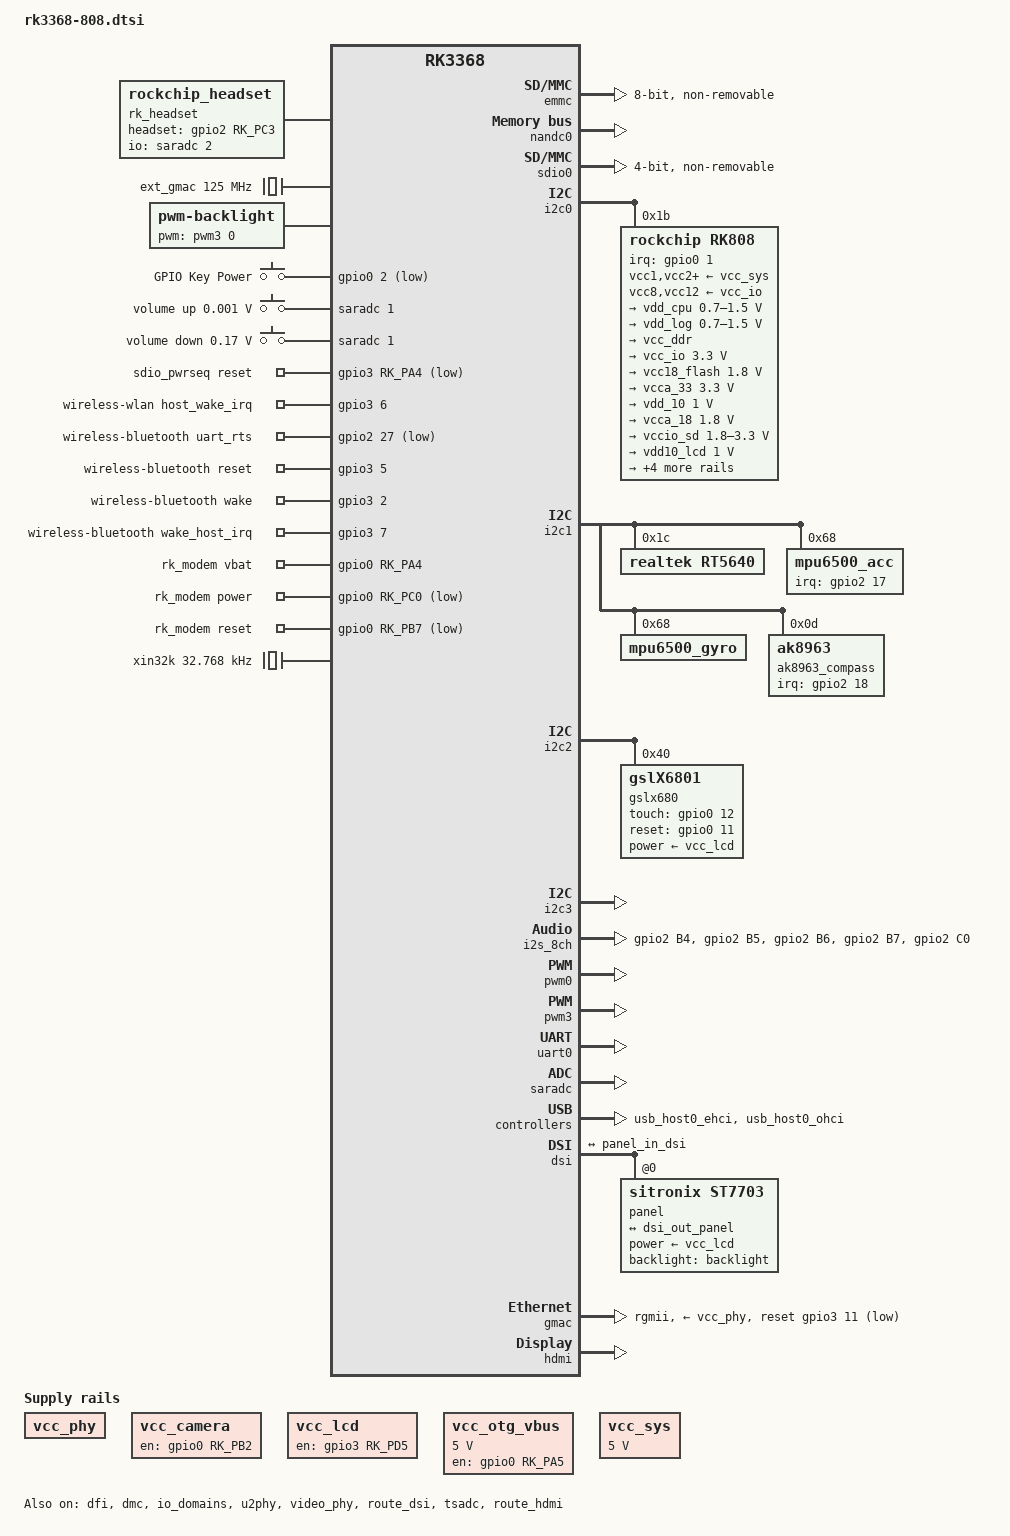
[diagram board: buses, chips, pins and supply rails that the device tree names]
// SPDX-License-Identifier: (GPL-2.0+ OR MIT)
/*
 * Copyright (c) 2019 Fuzhou Rockchip Electronics Co., Ltd
 */

/dts-v1/;
#include <dt-bindings/input/input.h>
#include <dt-bindings/pwm/pwm.h>
#include <dt-bindings/sensor-dev.h>
#include "rk3368.dtsi"
#include "rk3368-android.dtsi"

/ {
	rt5640-sound {
		compatible = "simple-audio-card";
		simple-audio-card,format = "i2s";
		simple-audio-card,name = "rockchip,rt5640-codec";
		simple-audio-card,mclk-fs = <256>;
		simple-audio-card,widgets =
			"Microphone", "Mic Jack",
			"Headphone", "Headphone Jack";
		simple-audio-card,routing =
			"Mic Jack", "MICBIAS1",
			"IN1P", "Mic Jack",
			"Headphone Jack", "HPOL",
			"Headphone Jack", "HPOR";
		simple-audio-card,dai-link@0 {
			format = "i2s";
			cpu {
				sound-dai = <&i2s_8ch>;
			};
			codec {
				sound-dai = <&rt5640>;
			};
		};

		simple-audio-card,dai-link@1 {
			format = "i2s";
			cpu {
				sound-dai = <&i2s_8ch>;
			};
			codec {
				sound-dai = <&hdmi>;
			};
		};
	};

	rk_headset {
		compatible = "rockchip_headset";
		headset_gpio = <&gpio2 RK_PC3 GPIO_ACTIVE_HIGH>;
		pinctrl-names = "default";
		pinctrl-0 = <&hp_det>;
		io-channels = <&saradc 2>;
	};

	ext_gmac: gmac-clk {
		compatible = "fixed-clock";
		clock-frequency = <125000000>;
		clock-output-names = "ext_gmac";
		#clock-cells = <0>;
	};

	vcc_phy: vcc-phy-regulator {
		compatible = "regulator-fixed";
		regulator-name = "vcc_phy";
		regulator-always-on;
		regulator-boot-on;
	};

	vcc_camera: vcc-camera-regulator {
		compatible = "regulator-fixed";
		gpio = <&gpio0 RK_PB2 GPIO_ACTIVE_HIGH>;
		pinctrl-names = "default";
		pinctrl-0 = <&camera_pwr>;
		regulator-name = "vcc_camera";
		enable-active-high;
		regulator-always-on;
		regulator-boot-on;
	};

	vcc_lcd: vcc-lcd-regulator {
		compatible = "regulator-fixed";
		gpio = <&gpio3 RK_PD5 GPIO_ACTIVE_HIGH>;
		pinctrl-names = "default";
		pinctrl-0 = <&lcd_pwr>;
		regulator-name = "vcc_lcd";
		enable-active-high;
		regulator-boot-on;
		regulator-state-mem {
			regulator-off-in-suspend;
		};
	};

	vcc_otg_vbus: otg-vbus-regulator {
		compatible = "regulator-fixed";
		gpio = <&gpio0 RK_PA5 GPIO_ACTIVE_HIGH>;
		pinctrl-names = "default";
		pinctrl-0 = <&otg_vbus_drv>;
		regulator-name = "vcc_otg_vbus";
		regulator-min-microvolt = <5000000>;
		regulator-max-microvolt = <5000000>;
		enable-active-high;
	};

	backlight: backlight {
		compatible = "pwm-backlight";
		pwms = <&pwm3 0 25000 0>;
		brightness-levels = <
			  0   1   2   3   4   5   6   7
			  8   9  10  11  12  13  14  15
			 16  17  18  19  20  21  22  23
			 24  25  26  27  28  29  30  31
			 32  33  34  35  36  37  38  39
			 40  41  42  43  44  45  46  47
			 48  49  50  51  52  53  54  55
			 56  57  58  59  60  61  62  63
			 64  65  66  67  68  69  70  71
			 72  73  74  75  76  77  78  79
			 80  81  82  83  84  85  86  87
			 88  89  90  91  92  93  94  95
			 96  97  98  99 100 101 102 103
			104 105 106 107 108 109 110 111
			112 113 114 115 116 117 118 119
			120 121 122 123 124 125 126 127
			128 129 130 131 132 133 134 135
			136 137 138 139 140 141 142 143
			144 145 146 147 148 149 150 151
			152 153 154 155 156 157 158 159
			160 161 162 163 164 165 166 167
			168 169 170 171 172 173 174 175
			176 177 178 179 180 181 182 183
			184 185 186 187 188 189 190 191
			192 193 194 195 196 197 198 199
			200 201 202 203 204 205 206 207
			208 209 210 211 212 213 214 215
			216 217 218 219 220 221 222 223
			224 225 226 227 228 229 230 231
			232 233 234 235 236 237 238 239
			240 241 242 243 244 245 246 247
			248 249 250 251 252 253 254 255>;
		default-brightness-level = <200>;
	};

	panel {
		compatible = "samsung,lsl070nl01", "simple-panel";
		backlight = <&backlight>;
		enable-gpios = <&gpio3 RK_PD5 GPIO_ACTIVE_HIGH>;
		enable-delay-ms = <120>;
		prepare-delay-ms = <2>;
		unprepare-delay-ms = <20>;
		disable-delay-ms = <50>;
		width-mm = <68>;
		height-mm = <121>;
		rockchip,data-mapping = "vesa";
		rockchip,data-width = <24>;
		rockchip,output = "lvds";
		status = "disabled";

		display-timings {
			native-mode = <&timing0>;

			timing0: timing0 {
				clock-frequency = <160000000>;
				hactive = <1200>;
				vactive = <1920>;
				hback-porch = <60>;
				hfront-porch = <80>;
				vback-porch = <25>;
				vfront-porch = <35>;
				hsync-len = <1>;
				vsync-len = <1>;
				hsync-active = <0>;
				vsync-active = <0>;
				de-active = <0>;
				pixelclk-active = <0>;
			};
		};

		port {
			panel_in: endpoint {
				remote-endpoint = <&edp_out>;
			};
		};
	};

	charge-animation {
		compatible = "rockchip,uboot-charge";
		rockchip,uboot-charge-on = <1>;
		rockchip,android-charge-on = <0>;
		rockchip,uboot-low-power-voltage = <3500>;
		rockchip,screen-on-voltage = <3600>;
		status = "okay";
	};

	gpio_keys: gpio-keys {
		compatible = "gpio-keys";
		autorepeat;

		power {
			debounce-interval = <100>;
			gpios = <&gpio0 2 GPIO_ACTIVE_LOW>;
			label = "GPIO Key Power";
			linux,code = <KEY_POWER>;
			wakeup-source;
		};
	};

	adc_keys: adc-keys {
		compatible = "adc-keys";
		io-channels = <&saradc 1>;
		io-channel-names = "buttons";
		keyup-threshold-microvolt = <1024000>;
		poll-interval = <100>;

		vol-up-key {
			label = "volume up";
			linux,code = <KEY_VOLUMEUP>;
			press-threshold-microvolt = <1000>;
		};

		vol-down-key {
			label = "volume down";
			linux,code = <KEY_VOLUMEDOWN>;
			press-threshold-microvolt = <170000>;
		};
	};

	sdio_pwrseq: sdio-pwrseq {
		compatible = "mmc-pwrseq-simple";
		clocks = <&rk808 1>;
		clock-names = "ext_clock";
		pinctrl-names = "default";
		pinctrl-0 = <&wifi_enable_h>;
		/*
		 * On the module itself this is one of these (depending
		 * on the actual card populated):
		 * - SDIO_RESET_L_WL_REG_ON
		 * - PDN (power down when low)
		 */
		reset-gpios = <&gpio3 RK_PA4 GPIO_ACTIVE_LOW>; /* GPIO3_A4 */
	};

	wireless-wlan {
		compatible = "wlan-platdata";
		rockchip,grf = <&grf>;
		wifi_chip_type = "ap6255";
		sdio_vref = <1800>; //1800mv or 3300mv
		WIFI,host_wake_irq = <&gpio3 6 GPIO_ACTIVE_HIGH>;
		status = "okay";
	};

	wireless-bluetooth {
		compatible = "bluetooth-platdata";
		clocks = <&rk808 1>;
		clock-names = "ext_clock";
		uart_rts_gpios = <&gpio2 27 GPIO_ACTIVE_LOW>;
		pinctrl-names = "default","rts_gpio";
		pinctrl-0 = <&uart0_rts>;
		pinctrl-1 = <&uart0_rts_gpio>;

		/* BT,power_gpio = <&gpio3 3 GPIO_ACTIVE_HIGH>; */
		BT,reset_gpio = <&gpio3 5 GPIO_ACTIVE_HIGH>;
		BT,wake_gpio = <&gpio3 2 GPIO_ACTIVE_HIGH>;
		BT,wake_host_irq = <&gpio3 7 GPIO_ACTIVE_HIGH>;

		status = "okay";
	};

	rk_modem: rk-modem {
		compatible="4g-modem-platdata";
		pinctrl-names = "default";
		pinctrl-0 = <&lte_vbat &lte_power_en &lte_reset>;
		4G,vbat-gpio = <&gpio0 RK_PA4 GPIO_ACTIVE_HIGH>;
		4G,power-gpio = <&gpio0 RK_PC0 GPIO_ACTIVE_LOW>;
		4G,reset-gpio = <&gpio0 RK_PB7 GPIO_ACTIVE_LOW>;
		status = "okay";
	};

	vcc_sys: vcc-sys {
		compatible = "regulator-fixed";
		regulator-name = "vcc_sys";
		regulator-always-on;
		regulator-boot-on;
		regulator-min-microvolt = <5000000>;
		regulator-max-microvolt = <5000000>;
	};

	xin32k: xin32k {
		compatible = "fixed-clock";
		clock-frequency = <32768>;
		clock-output-names = "xin32k";
		#clock-cells = <0>;
	};
};

&cpu_l0 {
	cpu-supply = <&vdd_cpu>;
};

&cpu_l1 {
	cpu-supply = <&vdd_cpu>;
};

&cpu_l2 {
	cpu-supply = <&vdd_cpu>;
};

&cpu_l3 {
	cpu-supply = <&vdd_cpu>;
};

&cpu_b0 {
	cpu-supply = <&vdd_cpu>;
};

&cpu_b1 {
	cpu-supply = <&vdd_cpu>;
};

&cpu_b2 {
	cpu-supply = <&vdd_cpu>;
};

&cpu_b3 {
	cpu-supply = <&vdd_cpu>;
};

&gpu {
	logic-supply = <&vdd_log>;
};

&dfi {
	status = "okay";
};

&dmc {
	status = "okay";
	center-supply = <&vdd_log>;
	devfreq-events = <&dfi>;
	upthreshold = <60>;
	downdifferential = <20>;
	system-status-freq = <
		/*system status		freq(KHz)*/
		SYS_STATUS_NORMAL	600000
		SYS_STATUS_REBOOT	600000
		SYS_STATUS_SUSPEND	240000
		SYS_STATUS_VIDEO_1080P	396000
		SYS_STATUS_VIDEO_4K	600000
		SYS_STATUS_PERFORMANCE	600000
		SYS_STATUS_BOOST	396000
		SYS_STATUS_DUALVIEW	600000
		SYS_STATUS_ISP		528000
	>;
	vop-bw-dmc-freq = <
	/* min_bw(MB/s) max_bw(MB/s) freq(KHz) */
		0       582      240000
		583     99999    396000
	>;
	auto-min-freq = <240000>;
	auto-freq-en = <0>;
};

&rockchip_suspend {
	status = "okay";
	rockchip,sleep-mode-config = <
		(0
		| RKPM_SLP_ARMOFF
		| RKPM_SLP_PMU_PLLS_PWRDN
		| RKPM_SLP_PMU_PMUALIVE_32K
		| RKPM_SLP_SFT_PLLS_DEEP
		| RKPM_SLP_PMU_DIS_OSC
		| RKPM_SLP_SFT_PD_NBSCUS
		)
	>;
	rockchip,wakeup-config = <
		(0
		| RKPM_GPIO_WKUP_EN
		| RKPM_USB_WKUP_EN
		| RKPM_CLUSTER_L_WKUP_EN
		)
	>;
};

&emmc {
	bus-width = <8>;
	cap-mmc-highspeed;
	mmc-hs200-1_8v;
	no-sdio;
	no-sd;
	disable-wp;
	non-removable;
	num-slots = <1>;
	status = "okay";
};

&nandc0 {
	status = "okay";
};

&sdmmc {
	clock-frequency = <37500000>;
	clock-freq-min-max = <400000 37500000>;
	no-sdio;
	no-mmc;
	cap-mmc-highspeed;
	cap-sd-highspeed;
	card-detect-delay = <200>;
	disable-wp;
	num-slots = <1>;
	pinctrl-names = "default";
	pinctrl-0 = <&sdmmc_clk &sdmmc_cmd &sdmmc_cd &sdmmc_bus4>;
	status = "disabled";
};

&sdio0 {
	clock-frequency = <100000000>;
	clock-freq-min-max = <200000 100000000>;
	no-sd;
	no-mmc;
	bus-width = <4>;
	disable-wp;
	cap-sd-highspeed;
	cap-sdio-irq;
	keep-power-in-suspend;
	mmc-pwrseq = <&sdio_pwrseq>;
	non-removable;
	num-slots = <1>;
	pinctrl-names = "default";
	pinctrl-0 = <&sdio0_bus4 &sdio0_cmd &sdio0_clk>;
	sd-uhs-sdr104;
	status = "okay";
};

&i2c0 {
	status = "okay";

	rk808: pmic@1b {
		status = "okay";
		compatible = "rockchip,rk808";
		reg = <0x1b>;
		interrupt-parent = <&gpio0>;
		interrupts = <1 IRQ_TYPE_LEVEL_LOW>;
		pinctrl-names = "default";
		pinctrl-0 = <&pmic_int>, <&pmic_sleep>;
		rockchip,system-power-controller;
		wakeup-source;
		vcc1-supply = <&vcc_sys>;
		vcc2-supply = <&vcc_sys>;
		vcc3-supply = <&vcc_sys>;
		vcc4-supply = <&vcc_sys>;
		vcc6-supply = <&vcc_sys>;
		vcc7-supply = <&vcc_sys>;
		vcc8-supply = <&vcc_io>;
		vcc9-supply = <&vcc_sys>;
		vcc10-supply = <&vcc_sys>;
		vcc11-supply = <&vcc_sys>;
		vcc12-supply = <&vcc_io>;
		clock-output-names = "rk808-clkout1", "rk808-clkout2";
		#clock-cells = <1>;

		regulators {
			vdd_cpu: DCDC_REG1 {
				regulator-always-on;
				regulator-boot-on;
				regulator-min-microvolt = <700000>;
				regulator-max-microvolt = <1500000>;
				regulator-name = "vdd_cpu";
				regulator-state-mem {
					regulator-off-in-suspend;
				};
			};

			vdd_log: DCDC_REG2 {
				regulator-always-on;
				regulator-boot-on;
				regulator-min-microvolt = <700000>;
				regulator-max-microvolt = <1500000>;
				regulator-name = "vdd_log";
				regulator-state-mem {
					regulator-on-in-suspend;
					regulator-suspend-microvolt = <1000000>;
				};
			};

			vcc_ddr: DCDC_REG3 {
				regulator-always-on;
				regulator-boot-on;
				regulator-name = "vcc_ddr";
				regulator-state-mem {
					regulator-on-in-suspend;
				};
			};

			vcc_io: DCDC_REG4 {
				regulator-always-on;
				regulator-boot-on;
				regulator-min-microvolt = <3300000>;
				regulator-max-microvolt = <3300000>;
				regulator-name = "vcc_io";
				regulator-state-mem {
					regulator-on-in-suspend;
					regulator-suspend-microvolt = <3300000>;
				};
			};

			vcc18_flash: LDO_REG1 {
				regulator-always-on;
				regulator-boot-on;
				regulator-min-microvolt = <1800000>;
				regulator-max-microvolt = <1800000>;
				regulator-name = "vcc18_flash";
				regulator-state-mem {
					regulator-on-in-suspend;
					regulator-suspend-microvolt = <1800000>;
				};
			};

			vcca_33: LDO_REG2 {
				regulator-always-on;
				regulator-boot-on;
				regulator-min-microvolt = <3300000>;
				regulator-max-microvolt = <3300000>;
				regulator-name = "vcca_33";
				regulator-state-mem {
					regulator-off-in-suspend;
				};
			};

			vdd_10: LDO_REG3 {
				regulator-always-on;
				regulator-boot-on;
				regulator-min-microvolt = <1000000>;
				regulator-max-microvolt = <1000000>;
				regulator-name = "vdd_10";
				regulator-state-mem {
					regulator-on-in-suspend;
					regulator-suspend-microvolt = <1000000>;
				};
			};

			vcca_18: LDO_REG4 {
				regulator-always-on;
				regulator-boot-on;
				regulator-min-microvolt = <1800000>;
				regulator-max-microvolt = <1800000>;
				regulator-name = "vcca_18";
				regulator-state-mem {
					regulator-off-in-suspend;
					regulator-suspend-microvolt = <1800000>;
				};
			};

			vccio_sd: LDO_REG5 {
				regulator-always-on;
				regulator-boot-on;
				regulator-min-microvolt = <1800000>;
				regulator-max-microvolt = <3300000>;
				regulator-name = "vccio_sd";
				regulator-state-mem {
					regulator-on-in-suspend;
					regulator-suspend-microvolt = <3300000>;
				};
			};

			vdd10_lcd: LDO_REG6 {
				regulator-always-on;
				regulator-boot-on;
				regulator-min-microvolt = <1000000>;
				regulator-max-microvolt = <1000000>;
				regulator-name = "vdd10_lcd";
				regulator-state-mem {
					regulator-off-in-suspend;
					regulator-suspend-microvolt = <1000000>;
				};
			};

			vcc_18: LDO_REG7 {
				regulator-always-on;
				regulator-boot-on;
				regulator-min-microvolt = <1800000>;
				regulator-max-microvolt = <1800000>;
				regulator-name = "vcc_18";
				regulator-state-mem {
					regulator-on-in-suspend;
					regulator-suspend-microvolt = <1800000>;
				};
			};

			vcc18_lcd: LDO_REG8 {
				regulator-always-on;
				regulator-boot-on;
				regulator-min-microvolt = <1800000>;
				regulator-max-microvolt = <1800000>;
				regulator-name = "vcc18_lcd";
				regulator-state-mem {
					regulator-off-in-suspend;
					regulator-suspend-microvolt = <1800000>;
				};
			};

			vcc_sd: SWITCH_REG1 {
				regulator-always-on;
				regulator-boot-on;
				regulator-name = "vcc_sd";
				regulator-state-mem {
					regulator-on-in-suspend;
				};
			};

			vcc_lan: SWITCH_REG2 {
				regulator-always-on;
				regulator-boot-on;
				regulator-name = "vcc_lan";
				regulator-state-mem {
					regulator-off-in-suspend;
				};
			};
		};
	};

};

&i2c1 {
	status = "okay";

	rt5640: rt5640@1c {
		status = "okay";
		#sound-dai-cells = <0>;
		compatible = "realtek,rt5640";
		reg = <0x1c>;
		clocks = <&cru SCLK_I2S_8CH_OUT>;
		clock-names = "mclk";
		realtek,in1-differential;
		/* spk-con-gpio = <&gpio3 9 GPIO_ACTIVE_HIGH>; */
		pinctrl-names = "default";
		pinctrl-0 = <&i2s_8ch_mclk>;
	};

	mpu6500_acc: mpu_acc@68 {
		status = "okay";
		compatible = "mpu6500_acc";
		pinctrl-names = "default";
		pinctrl-0 = <&mpu6500_irq_gpio>;
		reg = <0x68>;
		irq-gpio = <&gpio2 17 IRQ_TYPE_LEVEL_LOW>;
		irq_enable = <0>;
		poll_delay_ms = <30>;
		type = <SENSOR_TYPE_ACCEL>;
		power-off-in-suspend = <1>;
		layout = <5>;

	};

	mpu6500_gyro: mpu_gyro@68 {
		status = "okay";
		compatible = "mpu6500_gyro";
		reg = <0x68>;
		irq_enable = <0>;
		poll_delay_ms = <30>;
		type = <SENSOR_TYPE_GYROSCOPE>;
		power-off-in-suspend = <1>;
		layout = <5>;
	};

	ak8963_compass: ak8963_compass@d {
		status = "okay";
		compatible = "ak8963";
		pinctrl-names = "default";
		pinctrl-0 = <&ak8963_irq_gpio>;
		reg = <0x0d>;
		type = <SENSOR_TYPE_COMPASS>;
		irq-gpio = <&gpio2 18 IRQ_TYPE_EDGE_RISING>;
		irq_enable = <0>;
		poll_delay_ms = <30>;
		layout = <7>;
	};
};

&i2c2 {
	status = "okay";

	gslx680@40 {
		compatible = "gslX6801";
		reg = <0x40>;
		screen_max_x = <1920>;
		screen_max_y = <1200>;
		power-supply = <&vcc_lcd>;
		touch-gpio = <&gpio0 12 IRQ_TYPE_LEVEL_LOW>;
		reset-gpio = <&gpio0 11 GPIO_ACTIVE_HIGH>;
		status = "okay";
	};

};

&i2c3 {
	status = "okay";
};

&i2s_8ch {
	status = "okay";
	rockchip,i2s-broken-burst-len;
	rockchip,playback-channels = <8>;
	rockchip,capture-channels = <2>;
	#sound-dai-cells = <0>;
	pinctrl-names = "default";
	pinctrl-0 = <&i2s_2ch_bus>;
};

&io_domains {
	status = "okay";

	audio-supply = <&vcca_18>;
	dvp-supply = <&vcc_18>;
	flash0-supply = <&vcc18_flash>;
	gpio30-supply = <&vcc_io>;
	gpio1830-supply = <&vcc_io>;
	sdcard-supply = <&vccio_sd>;
	wifi-supply = <&vcc_io>;
};

&pmu_io_domains {
	status = "okay";

	pmu-supply = <&vcc_io>;
	vop-supply = <&vcca_33>;
};

&pwm0 {
	status = "okay";
};

&pwm3 {
	status = "okay";
};

&uart0 {
	pinctrl-names = "default";
	pinctrl-0 = <&uart0_xfer &uart0_cts>;
	status = "okay";
};

&uart2 {
	status = "disabled";
};

&saradc {
	status = "okay";
};

&u2phy {
	status = "okay";

	u2phy_otg: otg-port {
		status = "okay";
		vbus-supply = <&vcc_otg_vbus>;
	};

	u2phy_host: host-port {
		status = "okay";
	};
};

&usb_host0_ehci {
	status = "okay";
};

&usb_host0_ohci {
	status = "okay";
};

&edp {
	status = "disabled";
	force-hpd;

	ports {
		port@1 {
			reg = <1>;

			edp_out: endpoint {
				remote-endpoint = <&panel_in>;
			};
		};
	};
};

&dsi {
	status = "okay";

	panel@0 {
		compatible = "sitronix,st7703", "simple-panel-dsi";
		reg = <0>;
		backlight = <&backlight>;
		power-supply = <&vcc_lcd>;
		prepare-delay-ms = <2>;
		reset-delay-ms = <1>;
		init-delay-ms = <20>;
		enable-delay-ms = <120>;
		disable-delay-ms = <50>;
		unprepare-delay-ms = <20>;

		width-mm = <68>;
		height-mm = <121>;

		dsi,flags = <(MIPI_DSI_MODE_VIDEO | MIPI_DSI_MODE_VIDEO_BURST |
			      MIPI_DSI_MODE_LPM | MIPI_DSI_MODE_EOT_PACKET)>;
		dsi,format = <MIPI_DSI_FMT_RGB888>;
		dsi,lanes = <4>;

		display-timings {
			native-mode = <&st7703_timing>;

			st7703_timing: timing0 {
				clock-frequency = <160000000>;
				hactive = <1200>;
				vactive = <1920>;
				hback-porch = <60>;
				hfront-porch = <80>;
				vback-porch = <25>;
				vfront-porch = <35>;
				hsync-len = <1>;
				vsync-len = <1>;
				hsync-active = <0>;
				vsync-active = <0>;
				de-active = <0>;
				pixelclk-active = <0>;
			};
		};

		ports {
			#address-cells = <1>;
			#size-cells = <0>;

			port@0 {
				reg = <0>;
				panel_in_dsi: endpoint {
					remote-endpoint = <&dsi_out_panel>;
				};
			};
		};
	};

	ports {
		#address-cells = <1>;
		#size-cells = <0>;

		port@1 {
			reg = <1>;
			dsi_out_panel: endpoint {
				remote-endpoint = <&panel_in_dsi>;
			};
		};
	};
};

&video_phy {
	status = "okay";
};

&route_dsi {
	status = "okay";
};

&tsadc {
	tsadc-supply = <&vdd_cpu>;
	status = "okay";
};

&gmac {
	phy-supply = <&vcc_phy>;
	phy-mode = "rgmii";
	clock_in_out = "input";
	snps,reset-gpio = <&gpio3 11 GPIO_ACTIVE_LOW>;
	snps,reset-active-low;
	snps,reset-delays-us = <0 10000 50000>;
	assigned-clocks = <&cru SCLK_MAC>;
	assigned-clock-parents = <&ext_gmac>;
	pinctrl-names = "default";
	pinctrl-0 = <&rgmii_pins>;
	tx_delay = <0x28>;
	rx_delay = <0x11>;
	status = "okay";
};

&hdmi {
	#sound-dai-cells = <0>;
	status = "okay";
};

&route_hdmi {
	status = "okay";
};

&pinctrl {
	camera {
		camera_pwr: camera-pwr {
			rockchip,pins = <0 RK_PB2 RK_FUNC_GPIO &pcfg_pull_none>;
		};
	};

	lcd {
		lcd_pwr: lcd-pwr {
			rockchip,pins = <3 RK_PD5 RK_FUNC_GPIO &pcfg_pull_none>;
		};
	};

	headphone {
		hp_det: hp-det {
			rockchip,pins = <2 RK_PC3 RK_FUNC_GPIO &pcfg_pull_up>;
		};
	};

	i2s {
		i2s_2ch_bus: i2s-2ch-bus {
			rockchip,pins = <2 RK_PB4 1 &pcfg_pull_none>,
				<2 RK_PB5 1 &pcfg_pull_none>,
				<2 RK_PB6 1 &pcfg_pull_none>,
				<2 RK_PB7 1 &pcfg_pull_none>,
				<2 RK_PC0 1 &pcfg_pull_none>;
		};
	};

	pmic {
		pmic_sleep: pmic-sleep {
			rockchip,pins = <0 RK_PA0 2 &pcfg_pull_none>;
		};

		pmic_int: pmic-int {
			rockchip,pins = <0 RK_PA1 RK_FUNC_GPIO &pcfg_pull_up>;
		};
	};

	mpu6500 {
		mpu6500_irq_gpio: mpu6500-irq-gpio {
			rockchip,pins = <2 RK_PC1 RK_FUNC_GPIO &pcfg_pull_none>;
		};
	};

	ak8963 {
		ak8963_irq_gpio: ak8963_irq_gpio {
			rockchip,pins = <2 RK_PC2 RK_FUNC_GPIO &pcfg_pull_none>;
		};
	};

	dc_det {
		dc_irq_gpio: dc-irq-gpio {
			rockchip,pins = <0 RK_PC1 RK_FUNC_GPIO &pcfg_pull_up>;
		};
	};

	sdio-pwrseq {
		wifi_enable_h: wifi-enable-h {
			rockchip,pins = <3 RK_PA4 RK_FUNC_GPIO &pcfg_pull_none>;
		};
	};

	usb {
		otg_vbus_drv: otg-vbus-drv {
			rockchip,pins = <0 RK_PA5 RK_FUNC_GPIO &pcfg_pull_none>;
		};
	};

	wireless-bluetooth {
		uart0_rts_gpio: uart0-rts-gpio {
			rockchip,pins = <2 RK_PD3 RK_FUNC_GPIO &pcfg_pull_none>;
		};
	};

	rk-modem {
		lte_vbat: lte-vbat {
			rockchip,pins = <0 RK_PA2 RK_FUNC_GPIO &pcfg_pull_none>;
		};

		lte_power_en: lte-power-en {
			rockchip,pins = <0 RK_PC0 RK_FUNC_GPIO &pcfg_pull_none>;
		};

		lte_reset: lte-reset {
			rockchip,pins = <0 RK_PB7 RK_FUNC_GPIO &pcfg_pull_none>;
		};
	};
};

